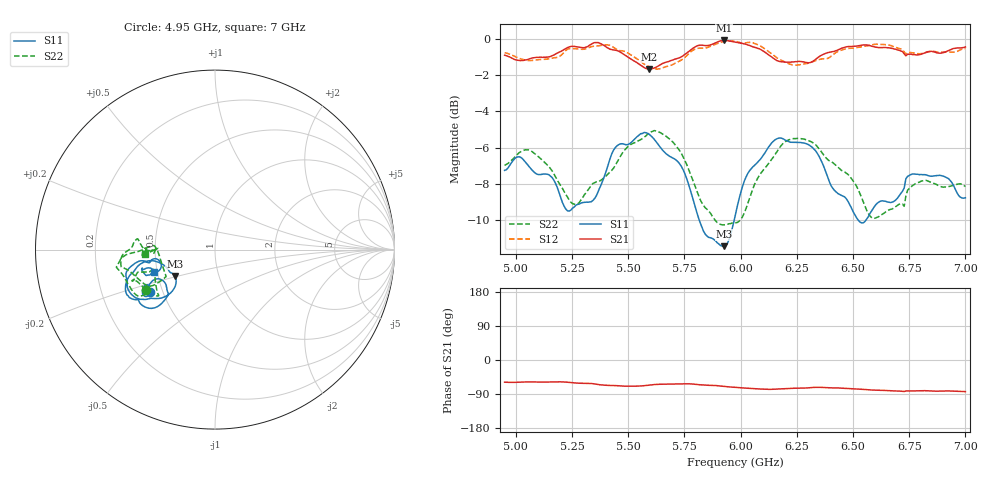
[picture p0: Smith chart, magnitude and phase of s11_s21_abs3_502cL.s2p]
! MS46122B
! 1919307/90821646
! 5/16/2022 2:09:34 PM
! C:\USERS\PC_\DESKTOP\CARACTERIZACION\MEDICIONES\BANDA ANCHA\S11_S21_ABS3_502CL.S2P
! CHANNEL.1
! TR.MEASUREMENT
! CORRECTED.DATA
# GHZ S RI R 50.0
! FREQ.GHZ  S11RE  S11IM  S21RE  S21IM  S12RE  S12IM  S22RE  S22IM
!; PortSelection: Port_12
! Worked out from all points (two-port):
!   272 points, 4.95 GHz to 7 GHz, reference 50 ohm
!   highest |S21| = -0.08 dB at 5.926 GHz (marker M1); lowest = -1.7 dB at 5.593 GHz (marker M2)
!   |S21| within 3 dB of the highest: start of sweep to end of sweep
!   lowest |S11| = -11.5 dB at 5.926 GHz (marker M3), VSWR 1.73, Z = 30.6 - j9.67 ohm
!   |S11| at or under -10 dB: 5.816 GHz to 5.972 GHz (156 MHz wide, 2.65 % of centre); 6.523 GHz to 6.558 GHz (35.61 MHz wide, 0.544 % of centre)
!   |S22| runs from -10.3 to -5.1 dB; largest |S21 - S12| = 0.036
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4.95  -0.3648 -0.234  0.4708 -0.7692  0.4902 -0.7738  -0.387 -0.2246
5.055904  -0.396 -0.2058  0.4681 -0.7444  0.4459 -0.7493  -0.4617 -0.1753
5.207196  -0.3138 -0.1626  0.4955 -0.7859  0.4883 -0.7666  -0.366 -0.1237
5.29797  -0.2644 -0.2342  0.4534 -0.83  0.4637 -0.8135  -0.3335 -0.1483
5.358487  -0.2638 -0.258  0.4287 -0.8784  0.4367 -0.8502  -0.3172 -0.2484
5.426568  -0.3526 -0.3276  0.3617 -0.8616  0.3639 -0.8832  -0.3582 -0.244
5.494649  -0.426 -0.2808  0.3188 -0.8358  0.3272 -0.8571  -0.4297 -0.2583
5.592989  -0.4994 -0.2197  0.3311 -0.7575  0.3211 -0.7743  -0.5384 -0.1119
5.638376  -0.4818 -0.1546  0.3698 -0.7606  0.3393 -0.7538  -0.5457 -0.0879
5.736716  -0.4338 -0.0963  0.405 -0.7961  0.3876 -0.7845  -0.482 -0.0235
5.84262  -0.2719 -0.0978  0.385 -0.8782  0.395 -0.8567  -0.341 0.0229
5.92583  -0.2237 -0.1469  0.346 -0.9282  0.3624 -0.915  -0.2886 -0.1031
5.978782  -0.2376 -0.2309  0.297 -0.934  0.3047 -0.9366  -0.2726 -0.1489
6.084686  -0.3721 -0.275  0.2194 -0.9126  0.2233 -0.9322  -0.3687 -0.203
6.152768  -0.4608 -0.2541  0.1983 -0.8561  0.1969 -0.8739  -0.46 -0.1334
6.319188  -0.488 -0.1157  0.2595 -0.8265  0.2419 -0.8302  -0.5168 -0.0327
6.440221  -0.3646 -0.0733  0.2582 -0.9006  0.2739 -0.8866  -0.4343 0.0599
6.530996  -0.3042 -0.0692  0.2178 -0.9339  0.2262 -0.9223  -0.3738 -0.00483
6.583948  -0.3141 -0.1191  0.1783 -0.938  0.1995 -0.9423  -0.3205 0.00618
6.659594  -0.332 -0.1229  0.149 -0.9338  0.1595 -0.949  -0.3368 -0.0113
6.765498  -0.4076 -0.115  0.1304 -0.8958  0.124 -0.9067  -0.3936 0.00656
7  -0.3423 -0.124  0.1093 -0.9443  0.1053 -0.9346  -0.39 -0.0264
